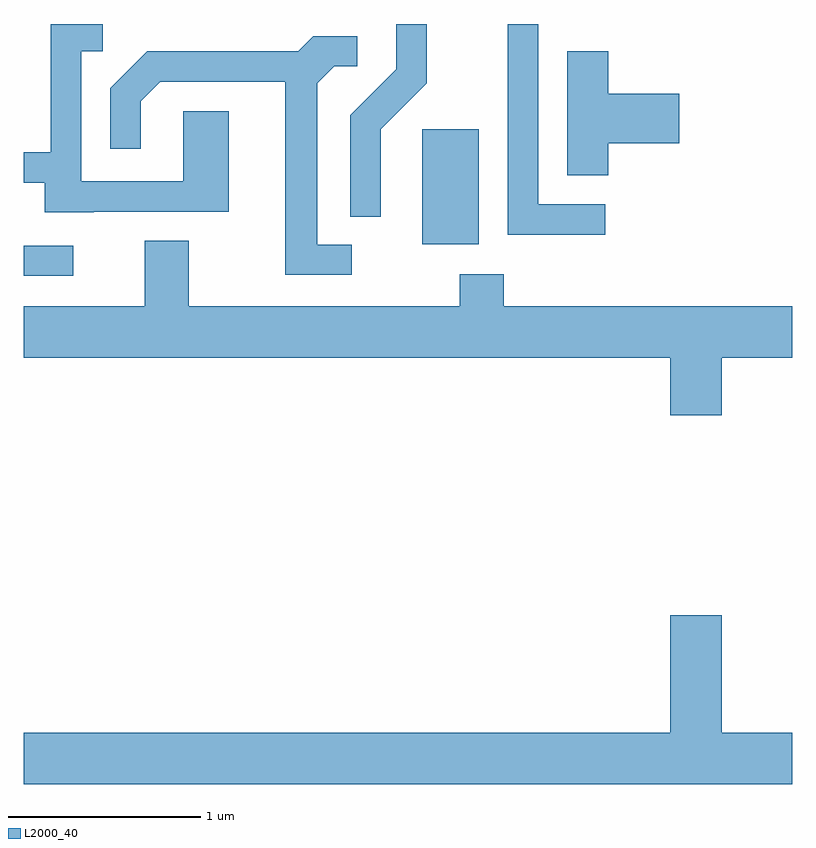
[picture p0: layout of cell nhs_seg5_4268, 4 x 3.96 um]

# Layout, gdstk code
import gdstk
lib = gdstk.Library(unit=1e-6, precision=1e-09)
def R(c, l, rs):  # rectangles x0, y0, x1, y1
    for r in rs: c.add(gdstk.rectangle(r[:2], r[2:], *l))
def P(c, l, *ps):  # polygons
    for p in ps: c.add(gdstk.Polygon(p, *l))
L2000_40 = (2000, 40)

nhs_seg5_4268 = lib.new_cell('nhs_seg5_4268')
R(nhs_seg5_4268, L2000_40, [(311.611,1472.761,311.868,1472.919), (313.686,1472.926,313.979,1473.524)])
P(nhs_seg5_4268, L2000_40, [(313.469,1473.524),(313.709,1473.764),(313.709,1474.072),(313.551,1474.072),(313.551,1473.837),(313.311,1473.597),(313.311,1473.068),(313.469,1473.068)],
  [(314.638,1473.134),(314.289,1473.134),(314.289,1474.072),(314.131,1474.072),(314.131,1472.976),(314.638,1472.976)],
  [(311.975,1473.096),(312.679,1473.096),(312.679,1473.619),(312.441,1473.619),(312.441,1473.254),(311.909,1473.254),(311.909,1473.931),(312.023,1473.931),(312.023,1474.072),(311.751,1474.072),(311.751,1473.404),(311.611,1473.404),(311.611,1473.246),(311.721,1473.246),(311.721,1473.091),(311.975,1473.091)],
  [(313.318,1472.924),(313.139,1472.924),(313.139,1473.764),(313.227,1473.851),(313.348,1473.851),(313.348,1474.009),(313.119,1474.009),(313.039,1473.929),(312.254,1473.929),(312.061,1473.737),(312.061,1473.423),(312.219,1473.423),(312.219,1473.669),(312.322,1473.771),(312.971,1473.771),(312.971,1472.766),(313.318,1472.766)],
  [(314.654,1473.451),(315.024,1473.451),(315.024,1473.709),(314.654,1473.709),(314.654,1473.929),(314.441,1473.929),(314.441,1473.286),(314.654,1473.286)],
  [(315.244,1472.336),(315.611,1472.336),(315.611,1472.604),(314.109,1472.604),(314.109,1472.769),(313.881,1472.769),(313.881,1472.604),(312.469,1472.604),(312.469,1472.944),(312.241,1472.944),(312.241,1472.604),(311.611,1472.604),(311.611,1472.336),(314.976,1472.336),(314.976,1472.036),(315.244,1472.036)],
  [(315.611,1470.384),(315.244,1470.384),(315.244,1470.994),(314.976,1470.994),(314.976,1470.384),(311.611,1470.384),(311.611,1470.116),(315.611,1470.116)])

lib.write_gds('nhs_seg5_4268.gds')
